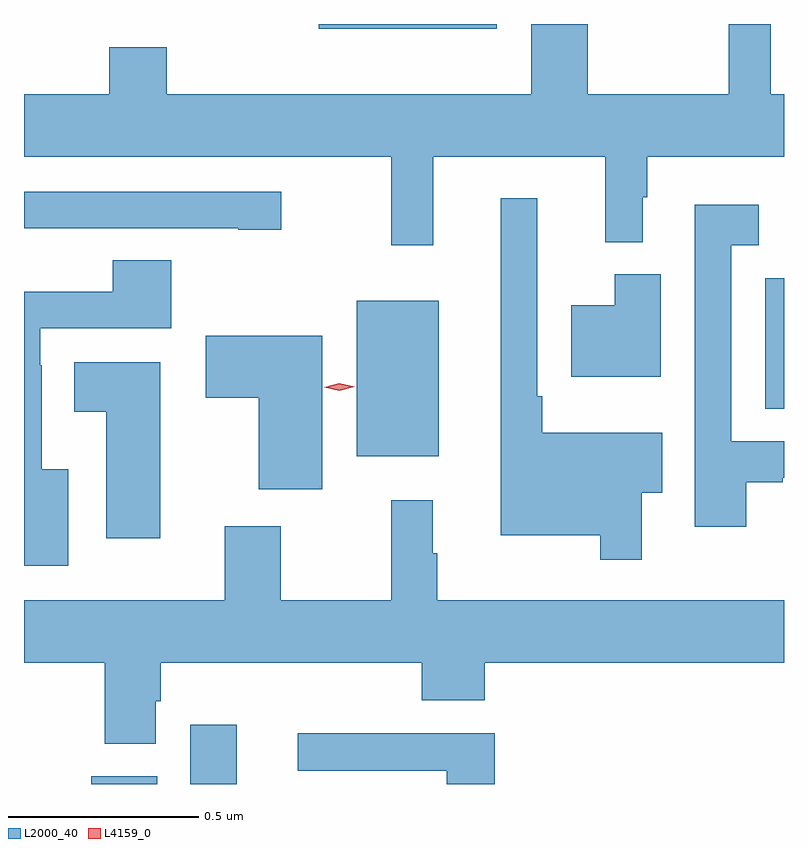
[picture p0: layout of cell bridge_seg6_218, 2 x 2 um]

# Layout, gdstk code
import gdstk
lib = gdstk.Library(unit=1e-6, precision=1e-09)
def R(c, l, rs):  # rectangles x0, y0, x1, y1
    for r in rs: c.add(gdstk.rectangle(r[:2], r[2:], *l))
def P(c, l, *ps):  # polygons
    for p in ps: c.add(gdstk.Polygon(p, *l))
L2000_40 = (2000, 40)
L4159_0 = (4159, 0)

bridge_seg6_218 = lib.new_cell('bridge_seg6_218')
R(bridge_seg6_218, L2000_40, [(134.021,980.317,134.194,980.338), (134.282,980.317,134.404,980.473), (134.72,981.179,134.935,981.589), (135.794,981.304,135.844,981.648), (134.619,982.304,135.088,982.317)])
P(bridge_seg6_218, L2000_40, [(134.921,981.968),(135.374,981.968),(135.374,981.743),(135.472,981.743),(135.472,981.861),(135.484,981.861),(135.484,981.968),(135.844,981.968),(135.844,982.132),(135.809,982.132),(135.809,982.317),(135.699,982.317),(135.699,982.132),(135.327,982.132),(135.327,982.317),(135.179,982.317),(135.179,982.132),(134.219,982.132),(134.219,982.256),(134.068,982.256),(134.068,982.132),(133.844,982.132),(133.844,981.968),(134.811,981.968),(134.811,981.735),(134.921,981.735)],
  [(134.521,981.876),(133.844,981.876),(133.844,981.78),(134.408,981.78),(134.408,981.775),(134.521,981.775)],
  [(135.469,981.083),(135.523,981.083),(135.523,981.241),(135.208,981.241),(135.208,981.337),(135.195,981.337),(135.195,981.859),(135.098,981.859),(135.098,980.972),(135.36,980.972),(135.36,980.907),(135.469,980.907)],
  [(135.745,981.111),(135.841,981.111),(135.841,981.123),(135.844,981.123),(135.844,981.219),(135.705,981.219),(135.705,981.735),(135.778,981.735),(135.778,981.841),(135.609,981.841),(135.609,980.994),(135.745,980.994)],
  [(133.96,981.145),(133.891,981.145),(133.891,981.419),(133.887,981.419),(133.887,981.516),(134.231,981.516),(134.231,981.695),(134.078,981.695),(134.078,981.612),(133.844,981.612),(133.844,980.891),(133.96,980.891)],
  [(135.52,981.658),(135.398,981.658),(135.398,981.577),(135.284,981.577),(135.284,981.389),(135.52,981.389)],
  [(134.629,981.496),(134.322,981.496),(134.322,981.334),(134.462,981.334),(134.462,981.093),(134.629,981.093)],
  [(134.203,981.427),(133.976,981.427),(133.976,981.296),(134.06,981.296),(134.06,980.964),(134.203,980.964)],
  [(134.891,980.537),(135.056,980.537),(135.056,980.636),(135.844,980.636),(135.844,980.8),(134.932,980.8),(134.932,980.924),(134.92,980.924),(134.92,981.064),(134.811,981.064),(134.811,980.8),(134.52,980.8),(134.52,980.995),(134.372,980.995),(134.372,980.8),(133.844,980.8),(133.844,980.636),(134.056,980.636),(134.056,980.423),(134.191,980.423),(134.191,980.535),(134.204,980.535),(134.204,980.636),(134.891,980.636)],
  [(135.083,980.45),(134.565,980.45),(134.565,980.352),(134.957,980.352),(134.957,980.317),(135.083,980.317)])
P(bridge_seg6_218, L4159_0, [(134.674,981.352),(134.634,981.361),(134.634,981.361),(134.634,981.361),(134.674,981.372),(134.714,981.363),(134.714,981.362),(134.714,981.362)])

lib.write_gds('bridge_seg6_218.gds')
